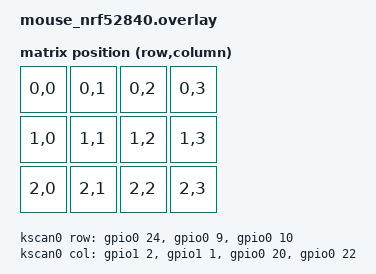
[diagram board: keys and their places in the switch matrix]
#include <dt-bindings/zmk/matrix_transform.h>
#include <dt-bindings/zmk/pointing.h>  // для сенсора
#include <dt-bindings/gpio/gpio.h>     // для GPIO флагов
#include <dt-bindings/pinctrl/nrf-pinctrl.h>  // для NRF_PSEL

// Если компилятор ругается на неизвестные макросы:

// #include <nordic/nrf52840_qiaa.dtsi>  // для определения пинов NRF52840
// #include <dt-bindings/zmk/keys.h>      // для клавиш
// #include <zephyr/types.h>               // для базовых типов

/*
 * Шилд для мыши на Pro Micro NRF52840
 * - PMW3610 sensor
 * - 12 кнопок в матрице 3x4
 */

/ {
    chosen {
        zmk,pointing = &pmw3610;
        zmk,matrix-transform = &default_transform;
    };

    sensors: sensors {
        compatible = "zmk,pointing-sensors";
        pointing-sensor = <&pmw3610>;
    };

    default_transform: keymap_transform_0 {
        compatible = "zmk,matrix-transform";
        columns = <4>;
        rows = <3>;
        map = <
            RC(0,0) RC(0,1) RC(0,2) RC(0,3)
            RC(1,0) RC(1,1) RC(1,2) RC(1,3)
            RC(2,0) RC(2,1) RC(2,2) RC(2,3)
        >;
    };

    kscan0: kscan {
        compatible = "zmk,kscan-gpio-matrix";
        label = "KSCAN";
        
        diode-direction = "col2row";  // Диоды от столбцов к строкам
        
        col-gpios
            = <&gpio1 2 GPIO_ACTIVE_HIGH>   // COL1: D4  (P1.02)
            , <&gpio1 1 GPIO_ACTIVE_HIGH>   // COL2: D5  (P1.01)
            , <&gpio0 20 GPIO_ACTIVE_HIGH>  // COL3: D6  (P0.20)
            , <&gpio0 22 GPIO_ACTIVE_HIGH>  // COL4: D7  (P0.22)
            ;
        
        row-gpios
            = <&gpio0 24 (GPIO_ACTIVE_HIGH | GPIO_PULL_DOWN)>  // ROW1: D8  (P0.24)
            , <&gpio0 9  (GPIO_ACTIVE_HIGH | GPIO_PULL_DOWN)>  // ROW2: D9  (P0.09)
            , <&gpio0 10 (GPIO_ACTIVE_HIGH | GPIO_PULL_DOWN)>  // ROW3: D10 (P0.10)
            ;
    };
};

&pinctrl {
    i2c0_default: i2c0_default {
        group1 {
            psels = <NRF_PSEL(TWIM_SDA, 1, 6)>,  // D2 = P1.06 (SDA)
                    <NRF_PSEL(TWIM_SCL, 1, 4)>;  // D3 = P1.04 (SCL)
        };
    };
};

&i2c0 {
    compatible = "nordic,nrf-twim";
    status = "okay";
    pinctrl-0 = <&i2c0_default>;
    pinctrl-names = "default";
    clock-frequency = <I2C_BITRATE_FAST>;  // 400kHz для PMW3610

    pmw3610: pmw3610@50 {
        compatible = "pixart,pmw3610";
        reg = <0x50>;
        label = "PMW3610";
        status = "okay";
        irq-gpios = <&gpio1 11 (GPIO_ACTIVE_LOW | GPIO_PULL_UP)>;  // Motion: D14 (P1.11)
        cpi = <1200>;
    };
};

// Светодиоды (опционально)
&leds {
    compatible = "gpio-leds";
    blue_led: led_0 {
        gpios = <&gpio0 15 GPIO_ACTIVE_HIGH>;  // D15? Нет, D15 это P1.11
        label = "Blue LED";
    };
};
